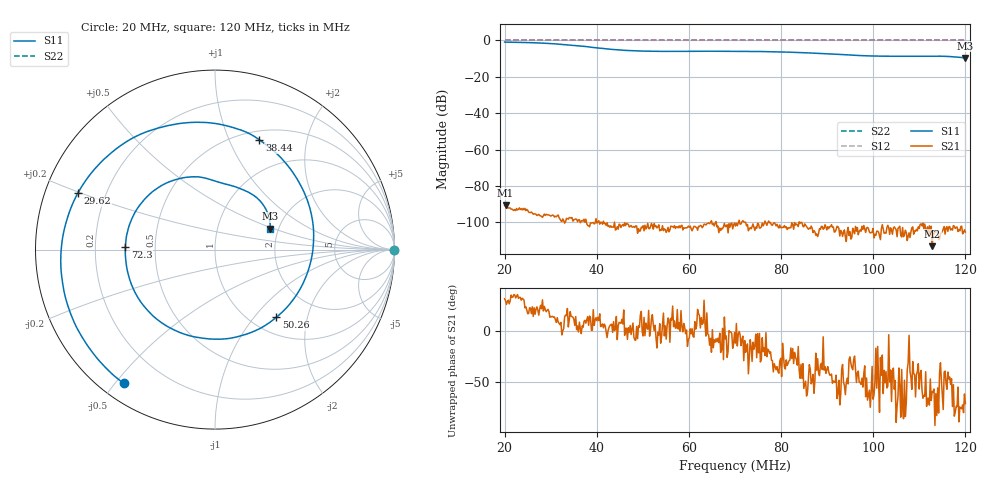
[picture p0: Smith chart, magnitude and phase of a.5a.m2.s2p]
! Anritsu VNA Master:  Model: MS2036C/10/77
! SN:  1601066
! /bd0/18may8/255.ew.m2.s2p
! Existing Calibration Information:
! TYPE:  Current Settings,  Active Cal Settings
! TIME:  05/08/2018 10:03:02 AM,  05/08/2018 09:57:41 AM
! INTERNAL TEMP:  46.8 C,  46.8 C
! # POINTS:  500,  500
! START FREQ:  20.000 MHz,  20.000 MHz
! STOP FREQ:  120.000 MHz,  120.000 MHz
! SOURCE POWER:  High,  High
! IFBW:  50 Hz,  50 Hz
! AVG FACTOR:  1 ,  1
! REF PLANE 1:  0 mm,  0 mm
! REF PLANE 2:  0 mm,  0 mm
! CAL TYPE:  Full S11,  Full S11
! CAL METHOD:  SOLT,  SOLT
! CAL LINE TYPE:  Coax,  Coax
! DUT PORT 1:  K-Conn(F),  K-Conn(F)
! DUT PORT 2:  K-Conn(F),  K-Conn(F)
! CAL STATUS:  OK: Accuracy High,  --
# GHZ S DB R 50.0
! FREQ.GHZ  S11DB  S11A  S21DB  S21A  S12DB  S12A  S22DB  S22A
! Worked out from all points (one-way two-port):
!   500 points, 20 MHz to 120 MHz, reference 50 ohm
!   highest |S21| = -90.64 dB at 20.2 MHz (marker M1); lowest = -113.1 dB at 112.8 MHz (marker M2)
!   lowest |S11| = -9.7 dB at 120 MHz (marker M3), VSWR 1.98, Z = 90.3 + j23.5 ohm
!   |S11| at or under -10 dB: nowhere
!   |S22| runs from 0.0 to 0.0 dB; largest |S21 - S12| = 1
!   S11 on the Smith chart (normalised r, x): 20 MHz: 0.07, -0.53; 29.62 MHz: 0.10, +0.20; 38.44 MHz: 0.60, +1.30; 50.26 MHz: 1.29, -1.31; 72.3 MHz: 0.33, +0.01; 120 MHz: 1.81, +0.47
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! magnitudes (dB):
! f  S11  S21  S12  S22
! 20 MHz  -0.9  -90.8  0.0  0.0
! 20.2 MHz  -0.9  -90.6  0.0  0.0
! 25.21 MHz  -1.2  -94.3  0.0  0.0
! 29.62 MHz  -1.7  -96.0  0.0  0.0
! 32.83 MHz  -2.2  -99.1  0.0  0.0
! 36.83 MHz  -3.2  -98.9  0.0  0.0
! 38.44 MHz  -3.6  -102.4  0.0  0.0
! 41.44 MHz  -4.5  -99.3  0.0  0.0
! 44.65 MHz  -5.2  -103.7  0.0  0.0
! 47.05 MHz  -5.6  -102.5  0.0  0.0
! 50.26 MHz  -5.9  -104.7  0.0  0.0
! 53.47 MHz  -6.0  -101.4  0.0  0.0
! 64.89 MHz  -5.9  -99.1  0.0  0.0
! 70.1 MHz  -6.0  -102.0  0.0  0.0
! 72.3 MHz  -6.0  -99.9  0.0  0.0
! 78.52 MHz  -6.2  -100.1  0.0  0.0
! 86.73 MHz  -6.9  -103.2  0.0  0.0
! 97.76 MHz  -8.4  -104.0  0.0  0.0
! 103.4 MHz  -8.7  -102.9  0.0  0.0
! 112.8 MHz  -8.6  -113.1  0.0  0.0
! 116.8 MHz  -8.9  -104.2  0.0  0.0
! 120 MHz  -9.7  -105.3  0.0  0.0
